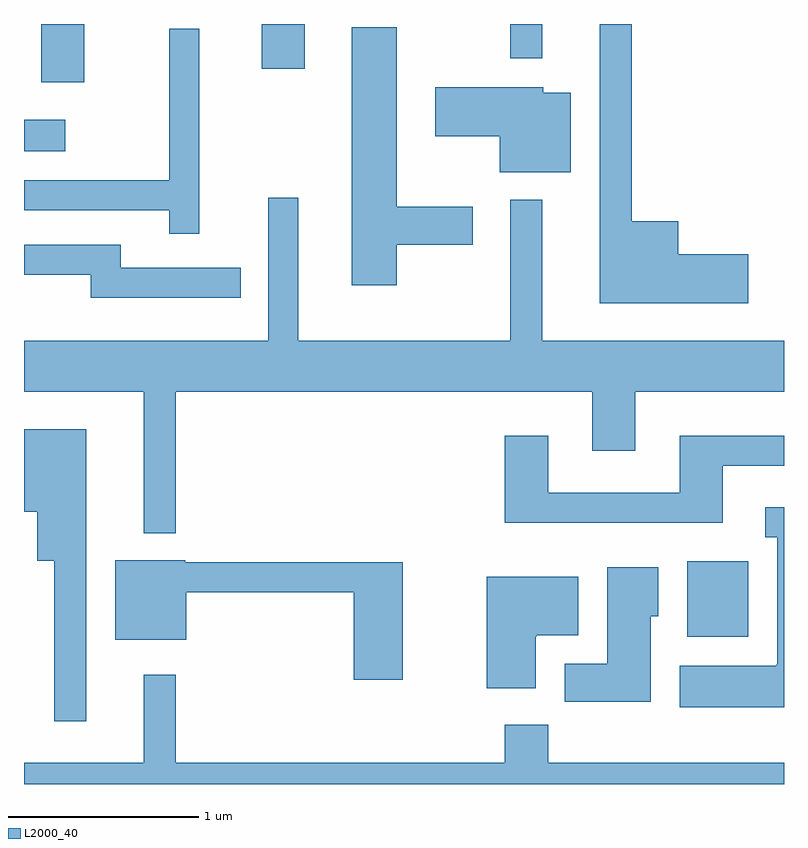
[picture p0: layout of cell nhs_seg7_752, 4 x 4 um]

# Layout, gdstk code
import gdstk
lib = gdstk.Library(unit=1e-6, precision=1e-09)
def R(c, l, rs):  # rectangles x0, y0, x1, y1
    for r in rs: c.add(gdstk.rectangle(r[:2], r[2:], *l))
def P(c, l, *ps):  # polygons
    for p in ps: c.add(gdstk.Polygon(p, *l))
L2000_40 = (2000, 40)

nhs_seg7_752 = lib.new_cell('nhs_seg7_752')
R(nhs_seg7_752, L2000_40, [(211.101,1713.026,211.424,1713.424), (207.611,1715.581,207.828,1715.749), (207.701,1715.946,207.929,1716.252), (208.861,1716.016,209.089,1716.252), (210.171,1716.073,210.339,1716.252)])
P(nhs_seg7_752, L2000_40, [(211.424,1715.039),(211.054,1715.039),(211.054,1715.214),(210.809,1715.214),(210.809,1716.252),(210.641,1716.252),(210.641,1714.781),(211.424,1714.781)],
  [(209.574,1715.091),(209.974,1715.091),(209.974,1715.289),(209.574,1715.289),(209.574,1716.234),(209.336,1716.234),(209.336,1714.876),(209.574,1714.876)],
  [(208.534,1716.228),(208.376,1716.228),(208.376,1715.429),(207.611,1715.429),(207.611,1715.271),(208.376,1715.271),(208.376,1715.148),(208.534,1715.148)],
  [(210.489,1715.889),(210.344,1715.889),(210.344,1715.919),(209.776,1715.919),(209.776,1715.661),(210.116,1715.661),(210.116,1715.471),(210.489,1715.471)],
  [(208.409,1714.316),(210.601,1714.316),(210.601,1714.006),(210.829,1714.006),(210.829,1714.316),(211.611,1714.316),(211.611,1714.584),(210.339,1714.584),(210.339,1715.328),(210.171,1715.328),(210.171,1714.584),(209.054,1714.584),(209.054,1715.338),(208.896,1715.338),(208.896,1714.584),(207.611,1714.584),(207.611,1714.316),(208.241,1714.316),(208.241,1713.573),(208.409,1713.573)],
  [(208.753,1714.969),(208.119,1714.969),(208.119,1715.089),(207.611,1715.089),(207.611,1714.931),(207.961,1714.931),(207.961,1714.811),(208.753,1714.811)],
  [(207.939,1714.119),(207.611,1714.119),(207.611,1713.686),(207.681,1713.686),(207.681,1713.426),(207.771,1713.426),(207.771,1712.583),(207.939,1712.583)],
  [(211.289,1713.926),(211.611,1713.926),(211.611,1714.084),(211.061,1714.084),(211.061,1713.784),(210.369,1713.784),(210.369,1714.084),(210.141,1714.084),(210.141,1713.626),(211.289,1713.626)],
  [(211.611,1713.709),(211.513,1713.709),(211.513,1713.551),(211.576,1713.551),(211.576,1712.88),(211.57,1712.88),(211.57,1712.874),(211.061,1712.874),(211.061,1712.656),(211.611,1712.656)],
  [(209.604,1713.419),(208.46,1713.419),(208.46,1713.429),(208.091,1713.429),(208.091,1713.011),(208.464,1713.011),(208.464,1713.261),(209.346,1713.261),(209.346,1712.801),(209.604,1712.801)],
  [(210.909,1713.136),(210.949,1713.136),(210.949,1713.394),(210.681,1713.394),(210.681,1712.884),(210.456,1712.884),(210.456,1712.686),(210.909,1712.686)],
  [(210.304,1713.03),(210.31,1713.03),(210.31,1713.036),(210.529,1713.036),(210.529,1713.344),(210.046,1713.344),(210.046,1712.756),(210.304,1712.756)],
  [(211.611,1712.364),(210.369,1712.364),(210.369,1712.564),(210.141,1712.564),(210.141,1712.364),(208.409,1712.364),(208.409,1712.828),(208.241,1712.828),(208.241,1712.364),(207.611,1712.364),(207.611,1712.252),(211.611,1712.252)])

lib.write_gds('nhs_seg7_752.gds')
